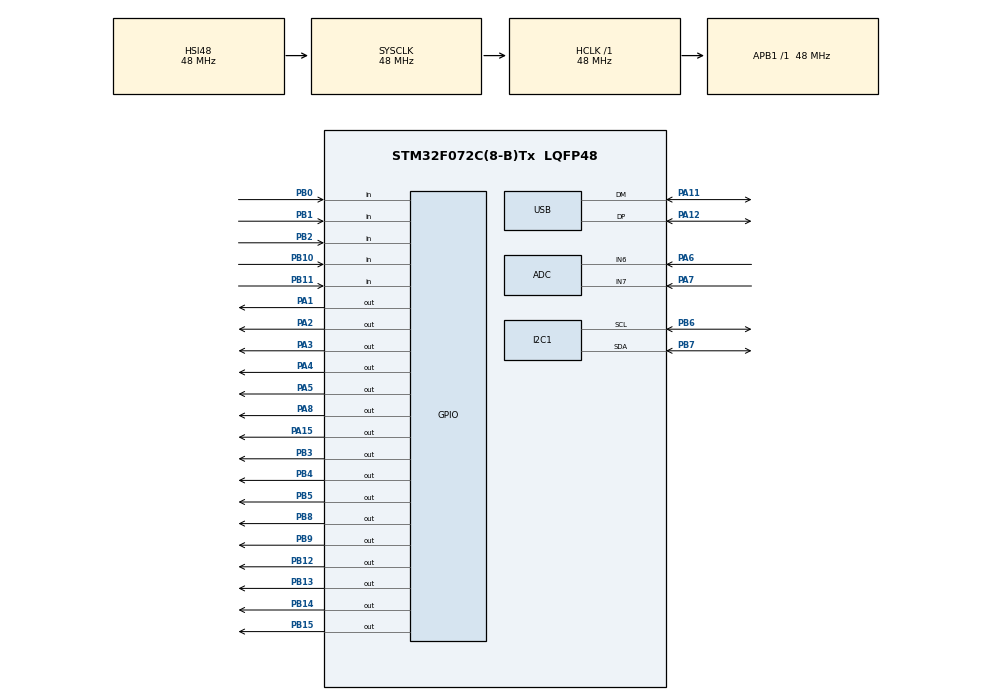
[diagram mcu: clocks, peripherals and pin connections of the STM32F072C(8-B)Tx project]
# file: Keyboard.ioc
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Mcu.Family=STM32F0
Mcu.Name=STM32F072C(8-B)Tx
Mcu.Package=LQFP48
NVIC.USB_IRQn=true\:0\:0\:false\:false\:true\:true\:true\:true
PA1.Signal=GPIO_Output
PA11.Mode=Device
PA11.Signal=USB_DM
PA12.Mode=Device
PA12.Signal=USB_DP
PA13.Mode=Serial_Wire
PA13.Signal=SYS_SWDIO
PA14.Mode=Serial_Wire
PA14.Signal=SYS_SWCLK
PA15.Signal=GPIO_Output
PA2.Signal=GPIO_Output
PA3.Signal=GPIO_Output
PA4.Signal=GPIO_Output
PA5.Signal=GPIO_Output
PA6.Mode=IN6
PA6.Signal=ADC_IN6
PA7.Mode=IN7
PA7.Signal=ADC_IN7
PA8.Signal=GPIO_Output
PB0.GPIO_Mode=GPIO_MODE_INPUT
PB0.GPIO_PuPd=GPIO_PULLDOWN
PB0.Signal=GPIO_Input
PB1.GPIO_Mode=GPIO_MODE_INPUT
PB1.GPIO_PuPd=GPIO_PULLDOWN
PB1.Signal=GPIO_Input
PB10.GPIO_Mode=GPIO_MODE_INPUT
PB10.GPIO_PuPd=GPIO_PULLDOWN
PB10.Signal=GPIO_Input
PB11.GPIO_Mode=GPIO_MODE_INPUT
PB11.GPIO_PuPd=GPIO_PULLDOWN
PB11.Signal=GPIO_Input
PB12.Signal=GPIO_Output
PB13.Signal=GPIO_Output
PB14.Signal=GPIO_Output
PB15.Signal=GPIO_Output
PB2.GPIO_Mode=GPIO_MODE_INPUT
PB2.GPIO_PuPd=GPIO_PULLDOWN
PB2.Signal=GPIO_Input
PB3.Signal=GPIO_Output
PB4.Signal=GPIO_Output
PB5.Signal=GPIO_Output
PB6.Mode=I2C
PB6.Signal=I2C1_SCL
PB7.Mode=I2C
PB7.Signal=I2C1_SDA
PB8.Signal=GPIO_Output
PB9.Signal=GPIO_Output
ProjectManager.HeapSize=0x200
ProjectManager.StackSize=0x400
ProjectManager.TargetToolchain=STM32CubeIDE
RCC.AHBFreq_Value=48000000
RCC.APB1Freq_Value=48000000
RCC.APB1TimFreq_Value=48000000
RCC.HCLKFreq_Value=48000000
RCC.SYSCLKFreq_VALUE=48000000
RCC.SYSCLKSource=RCC_SYSCLKSOURCE_HSI48
TIM2.Prescaler=48-1
USB_DEVICE.CLASS_NAME_FS=HID
USB_DEVICE.MANUFACTURER_STRING=maisur\:)
USB_DEVICE.VirtualMode=Hid
USB_DEVICE.VirtualModeFS=Hid_FS
VP_TIM2_VS_ClockSourceINT.Mode=Internal
VP_USB_DEVICE_VS_USB_DEVICE_HID_FS.Mode=HID_FS
board=custom

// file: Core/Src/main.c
/* USER CODE BEGIN Header */
/**
  ******************************************************************************
  * @file           : main.c
  * @brief          : Main program body
  ******************************************************************************
  * @attention
  *
  * Copyright (c) 2024 STMicroelectronics.
  * All rights reserved.
  *
  * This software is licensed under terms that can be found in the LICENSE file
  * in the root directory of this software component.
  * If no LICENSE file comes with this software, it is provided AS-IS.
  *
  ******************************************************************************
  */
/* USER CODE END Header */
#include "main.h"
#include "usb_device.h"

/* USER CODE BEGIN Includes */
#include "key_scan.h"
#include "key_codes.h"
#include "usbd_hid.h"
/* USER CODE END Includes */

ADC_HandleTypeDef hadc;

I2C_HandleTypeDef hi2c1;

TIM_HandleTypeDef htim2;

/* USER CODE BEGIN PV */
extern USBD_HandleTypeDef hUsbDeviceFS;

int keys[KEYS_PER_REPORT] = {KEY_NONE};
uint8_t modifier_byte = 0;

void delay_us(uint16_t us) {
	__HAL_TIM_SET_COUNTER(&htim2, 0);  // reset counter back to 0
	while (__HAL_TIM_GET_COUNTER(&htim2) < us);  // wait for the counter to reach desired time
}

uint8_t HID_IsIdle(USBD_HandleTypeDef *pdev) {
	return ((USBD_HID_HandleTypeDef *)pdev->pClassData)->state == HID_IDLE;
}
/* USER CODE END PV */

void SystemClock_Config(void);
static void MX_GPIO_Init(void);
static void MX_ADC_Init(void);
static void MX_I2C1_Init(void);
static void MX_TIM2_Init(void);

int main(void)
{

  /* MCU Configuration--------------------------------------------------------*/

  /* Reset of all peripherals, Initializes the Flash interface and the Systick. */
  HAL_Init();

  /* Configure the system clock */
  SystemClock_Config();

  /* Initialize all configured peripherals */
  MX_GPIO_Init();
  MX_ADC_Init();
  MX_I2C1_Init();
  MX_TIM2_Init();
  MX_USB_DEVICE_Init();
  /* USER CODE BEGIN 2 */
  HAL_TIM_Base_Start(&htim2);
  Keyboard report = (Keyboard) {0, 0, KEY_NONE, KEY_NONE, KEY_NONE, KEY_NONE, KEY_NONE, KEY_NONE};
  /* USER CODE END 2 */

  /* Infinite loop */
  while (1)
  {

    /* USER CODE BEGIN 3 */
//	HAL_Delay(7);
	// wait until our last report has been read
	if (!HID_IsIdle(&hUsbDeviceFS)) {
		continue;
	}

	scan_keys(keys, &modifier_byte);
	replace_fn(keys);
	report = (Keyboard) {modifier_byte, 0, keys[0], keys[1], keys[2], keys[3], keys[4], keys[5]};

	USBD_HID_SendReport(&hUsbDeviceFS, &report, sizeof(report));

	for (int i=0; i < KEYS_PER_REPORT; i++) {
		keys[i] = KEY_NONE;
	}
	modifier_byte = 0;

//	report = (Keyboard) {0, 0, KEY_H, KEY_I, 0, 0, 0, 0};
//	USBD_HID_SendReport(&hUsbDeviceFS, &report, sizeof(report));
//	HAL_Delay(50);
//	report = (Keyboard) {0, 0, 0, 0, 0, 0, 0, 0};
//	USBD_HID_SendReport(&hUsbDeviceFS, &report, sizeof(report));
//	HAL_Delay(2000);
  }
  /* USER CODE END 3 */
}

void SystemClock_Config(void)
{
  RCC_OscInitTypeDef RCC_OscInitStruct = {0};
  RCC_ClkInitTypeDef RCC_ClkInitStruct = {0};
  RCC_PeriphCLKInitTypeDef PeriphClkInit = {0};

  /** Initializes the RCC Oscillators according to the specified parameters
  * in the RCC_OscInitTypeDef structure.
  */
  RCC_OscInitStruct.OscillatorType = RCC_OSCILLATORTYPE_HSI|RCC_OSCILLATORTYPE_HSI14
                              |RCC_OSCILLATORTYPE_HSI48;
  RCC_OscInitStruct.HSIState = RCC_HSI_ON;
  RCC_OscInitStruct.HSI48State = RCC_HSI48_ON;
  RCC_OscInitStruct.HSI14State = RCC_HSI14_ON;
  RCC_OscInitStruct.HSICalibrationValue = RCC_HSICALIBRATION_DEFAULT;
  RCC_OscInitStruct.HSI14CalibrationValue = 16;
  RCC_OscInitStruct.PLL.PLLState = RCC_PLL_NONE;
  if (HAL_RCC_OscConfig(&RCC_OscInitStruct) != HAL_OK)
  {
    Error_Handler();
  }

  /** Initializes the CPU, AHB and APB buses clocks
  */
  RCC_ClkInitStruct.ClockType = RCC_CLOCKTYPE_HCLK|RCC_CLOCKTYPE_SYSCLK
                              |RCC_CLOCKTYPE_PCLK1;
  RCC_ClkInitStruct.SYSCLKSource = RCC_SYSCLKSOURCE_HSI48;
  RCC_ClkInitStruct.AHBCLKDivider = RCC_SYSCLK_DIV1;
  RCC_ClkInitStruct.APB1CLKDivider = RCC_HCLK_DIV1;

  if (HAL_RCC_ClockConfig(&RCC_ClkInitStruct, FLASH_LATENCY_1) != HAL_OK)
  {
    Error_Handler();
  }
  PeriphClkInit.PeriphClockSelection = RCC_PERIPHCLK_USB|RCC_PERIPHCLK_I2C1;
  PeriphClkInit.I2c1ClockSelection = RCC_I2C1CLKSOURCE_HSI;
  PeriphClkInit.UsbClockSelection = RCC_USBCLKSOURCE_HSI48;

  if (HAL_RCCEx_PeriphCLKConfig(&PeriphClkInit) != HAL_OK)
  {
    Error_Handler();
  }
}

static void MX_ADC_Init(void)
{

  ADC_ChannelConfTypeDef sConfig = {0};

  /** Configure the global features of the ADC (Clock, Resolution, Data Alignment and number of conversion)
  */
  hadc.Instance = ADC1;
  hadc.Init.ClockPrescaler = ADC_CLOCK_ASYNC_DIV1;
  hadc.Init.Resolution = ADC_RESOLUTION_12B;
  hadc.Init.DataAlign = ADC_DATAALIGN_RIGHT;
  hadc.Init.ScanConvMode = ADC_SCAN_DIRECTION_FORWARD;
  hadc.Init.EOCSelection = ADC_EOC_SINGLE_CONV;
  hadc.Init.LowPowerAutoWait = DISABLE;
  hadc.Init.LowPowerAutoPowerOff = DISABLE;
  hadc.Init.ContinuousConvMode = DISABLE;
  hadc.Init.DiscontinuousConvMode = DISABLE;
  hadc.Init.ExternalTrigConv = ADC_SOFTWARE_START;
  hadc.Init.ExternalTrigConvEdge = ADC_EXTERNALTRIGCONVEDGE_NONE;
  hadc.Init.DMAContinuousRequests = DISABLE;
  hadc.Init.Overrun = ADC_OVR_DATA_PRESERVED;
  if (HAL_ADC_Init(&hadc) != HAL_OK)
  {
    Error_Handler();
  }

  /** Configure for the selected ADC regular channel to be converted.
  */
  sConfig.Channel = ADC_CHANNEL_6;
  sConfig.Rank = ADC_RANK_CHANNEL_NUMBER;
  sConfig.SamplingTime = ADC_SAMPLETIME_1CYCLE_5;
  if (HAL_ADC_ConfigChannel(&hadc, &sConfig) != HAL_OK)
  {
    Error_Handler();
  }

  /** Configure for the selected ADC regular channel to be converted.
  */
  sConfig.Channel = ADC_CHANNEL_7;
  if (HAL_ADC_ConfigChannel(&hadc, &sConfig) != HAL_OK)
  {
    Error_Handler();
  }

}

static void MX_I2C1_Init(void)
{

  hi2c1.Instance = I2C1;
  hi2c1.Init.Timing = 0x2000090E;
  hi2c1.Init.OwnAddress1 = 0;
  hi2c1.Init.AddressingMode = I2C_ADDRESSINGMODE_7BIT;
  hi2c1.Init.DualAddressMode = I2C_DUALADDRESS_DISABLE;
  hi2c1.Init.OwnAddress2 = 0;
  hi2c1.Init.OwnAddress2Masks = I2C_OA2_NOMASK;
  hi2c1.Init.GeneralCallMode = I2C_GENERALCALL_DISABLE;
  hi2c1.Init.NoStretchMode = I2C_NOSTRETCH_DISABLE;
  if (HAL_I2C_Init(&hi2c1) != HAL_OK)
  {
    Error_Handler();
  }

  /** Configure Analogue filter
  */
  if (HAL_I2CEx_ConfigAnalogFilter(&hi2c1, I2C_ANALOGFILTER_ENABLE) != HAL_OK)
  {
    Error_Handler();
  }

  /** Configure Digital filter
  */
  if (HAL_I2CEx_ConfigDigitalFilter(&hi2c1, 0) != HAL_OK)
  {
    Error_Handler();
  }

}

static void MX_TIM2_Init(void)
{

  TIM_ClockConfigTypeDef sClockSourceConfig = {0};
  TIM_MasterConfigTypeDef sMasterConfig = {0};

  htim2.Instance = TIM2;
  htim2.Init.Prescaler = 48-1;
  htim2.Init.CounterMode = TIM_COUNTERMODE_UP;
  htim2.Init.Period = 4294967295;
  htim2.Init.ClockDivision = TIM_CLOCKDIVISION_DIV1;
  htim2.Init.AutoReloadPreload = TIM_AUTORELOAD_PRELOAD_DISABLE;
  if (HAL_TIM_Base_Init(&htim2) != HAL_OK)
  {
    Error_Handler();
  }
  sClockSourceConfig.ClockSource = TIM_CLOCKSOURCE_INTERNAL;
  if (HAL_TIM_ConfigClockSource(&htim2, &sClockSourceConfig) != HAL_OK)
  {
    Error_Handler();
  }
  sMasterConfig.MasterOutputTrigger = TIM_TRGO_RESET;
  sMasterConfig.MasterSlaveMode = TIM_MASTERSLAVEMODE_DISABLE;
  if (HAL_TIMEx_MasterConfigSynchronization(&htim2, &sMasterConfig) != HAL_OK)
  {
    Error_Handler();
  }

}

static void MX_GPIO_Init(void)
{
  GPIO_InitTypeDef GPIO_InitStruct = {0};

  /* GPIO Ports Clock Enable */
  __HAL_RCC_GPIOA_CLK_ENABLE();
  __HAL_RCC_GPIOB_CLK_ENABLE();

  /*Configure GPIO pin Output Level */
  HAL_GPIO_WritePin(GPIOA, GPIO_PIN_1|GPIO_PIN_2|GPIO_PIN_3|GPIO_PIN_4
                          |GPIO_PIN_5|GPIO_PIN_8|GPIO_PIN_15, GPIO_PIN_RESET);

  /*Configure GPIO pin Output Level */
  HAL_GPIO_WritePin(GPIOB, GPIO_PIN_12|GPIO_PIN_13|GPIO_PIN_14|GPIO_PIN_15
                          |GPIO_PIN_3|GPIO_PIN_4|GPIO_PIN_5|GPIO_PIN_8
                          |GPIO_PIN_9, GPIO_PIN_RESET);

  /*Configure GPIO pins : PA1 PA2 PA3 PA4
                           PA5 PA8 PA15 */
  GPIO_InitStruct.Pin = GPIO_PIN_1|GPIO_PIN_2|GPIO_PIN_3|GPIO_PIN_4
                          |GPIO_PIN_5|GPIO_PIN_8|GPIO_PIN_15;
  GPIO_InitStruct.Mode = GPIO_MODE_OUTPUT_PP;
  GPIO_InitStruct.Pull = GPIO_NOPULL;
  GPIO_InitStruct.Speed = GPIO_SPEED_FREQ_LOW;
  HAL_GPIO_Init(GPIOA, &GPIO_InitStruct);

  /*Configure GPIO pins : PB0 PB1 PB2 PB10
                           PB11 */
  GPIO_InitStruct.Pin = GPIO_PIN_0|GPIO_PIN_1|GPIO_PIN_2|GPIO_PIN_10
                          |GPIO_PIN_11;
  GPIO_InitStruct.Mode = GPIO_MODE_INPUT;
  GPIO_InitStruct.Pull = GPIO_PULLDOWN;
  HAL_GPIO_Init(GPIOB, &GPIO_InitStruct);

  /*Configure GPIO pins : PB12 PB13 PB14 PB15
                           PB3 PB4 PB5 PB8
                           PB9 */
  GPIO_InitStruct.Pin = GPIO_PIN_12|GPIO_PIN_13|GPIO_PIN_14|GPIO_PIN_15
                          |GPIO_PIN_3|GPIO_PIN_4|GPIO_PIN_5|GPIO_PIN_8
                          |GPIO_PIN_9;
  GPIO_InitStruct.Mode = GPIO_MODE_OUTPUT_PP;
  GPIO_InitStruct.Pull = GPIO_NOPULL;
  GPIO_InitStruct.Speed = GPIO_SPEED_FREQ_LOW;
  HAL_GPIO_Init(GPIOB, &GPIO_InitStruct);

}

void Error_Handler(void)
{
  __disable_irq();
  while (1)
  {
  }
}
